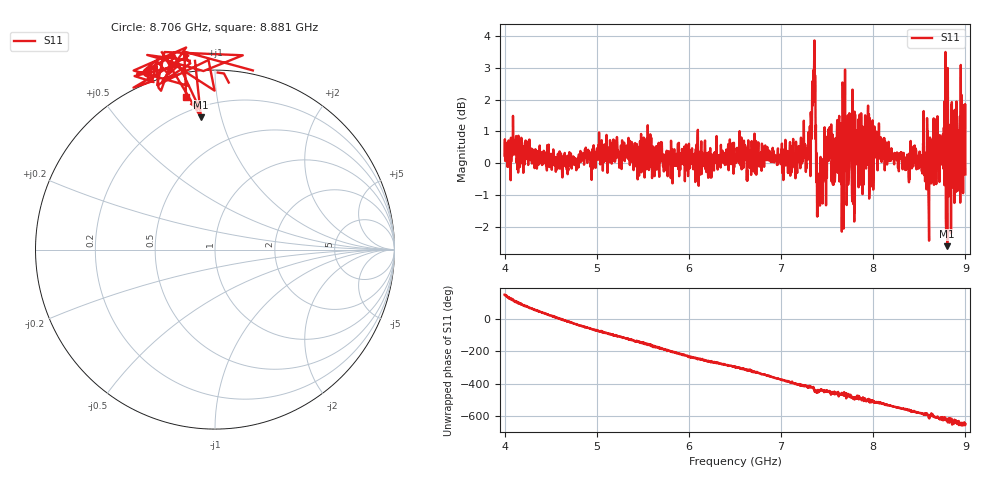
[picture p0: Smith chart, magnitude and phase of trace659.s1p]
! Created with skrf 1.8.0 (http://scikit-rf.org).
# Hz S RI R 50.0
!freq ReS11 ImS11
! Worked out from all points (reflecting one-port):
!   1601 points, 4 GHz to 9 GHz, reference 50 ohm
!   lowest |S11| = -2.6 dB at 8.803 GHz (marker M1), VSWR 6.71, Z = 13.2 + j43.2 ohm
!   phase of S11 starts at 147 deg and turns -793 deg over the sweep
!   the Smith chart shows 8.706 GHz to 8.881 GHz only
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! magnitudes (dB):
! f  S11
! 4 GHz  0.2
! 4.1 GHz  0.3
! 4.625 GHz  -0.4
! 5.25 GHz  0.1
! 5.875 GHz  0.0
! 6.5 GHz  0.0
! 7.125 GHz  0.3
! 7.294 GHz  0.3
! 7.347 GHz  2.6
! 7.362 GHz  3.9
! 7.4 GHz  -0.4
! 7.412 GHz  -0.8
! 7.519 GHz  0.6
! 7.572 GHz  0.1
! 7.669 GHz  2.5
! 7.75 GHz  0.6
! 7.788 GHz  -0.5
! 7.828 GHz  0.6
! 7.928 GHz  0.8
! 7.981 GHz  -0.7
! 8.375 GHz  0.1
! 8.566 GHz  -0.5
! 8.581 GHz  -0.1
! 8.638 GHz  0.1
! 8.803 GHz  -2.6
! 8.919 GHz  -0.5
! 8.972 GHz  0.3
! 9 GHz  -0.3
